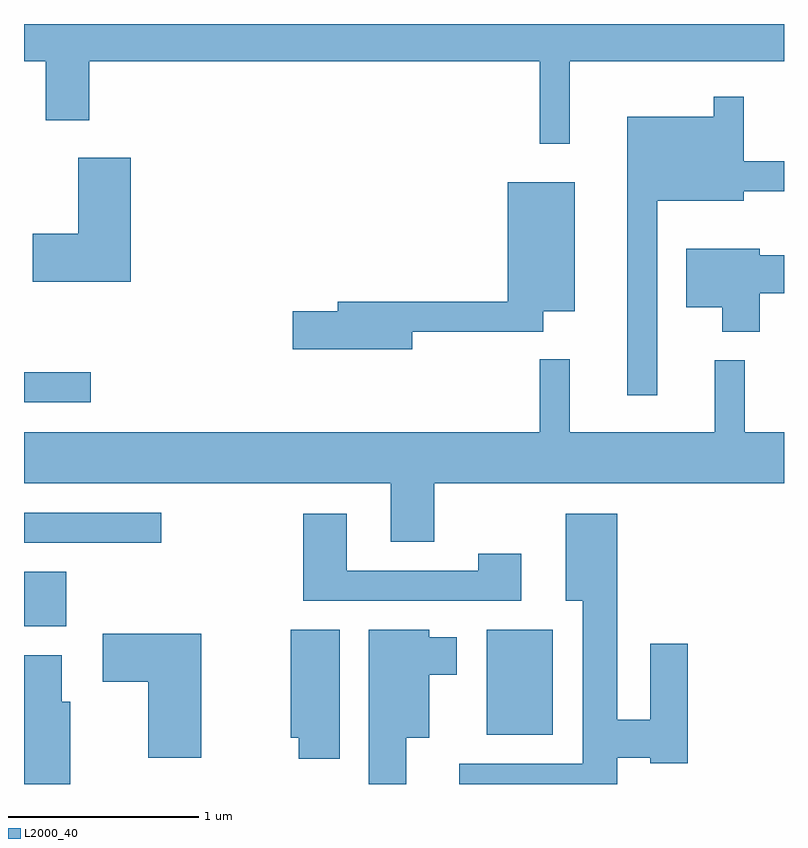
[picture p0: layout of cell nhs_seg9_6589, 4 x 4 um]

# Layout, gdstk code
import gdstk
lib = gdstk.Library(unit=1e-6, precision=1e-09)
def R(c, l, rs):  # rectangles x0, y0, x1, y1
    for r in rs: c.add(gdstk.rectangle(r[:2], r[2:], *l))
def P(c, l, *ps):  # polygons
    for p in ps: c.add(gdstk.Polygon(p, *l))
L2000_40 = (2000, 40)

nhs_seg9_6589 = lib.new_cell('nhs_seg9_6589')
R(nhs_seg9_6589, L2000_40, [(382.046,2012.691,382.394,2013.244), (379.611,2013.261,379.834,2013.549), (379.611,2013.701,380.333,2013.859), (379.611,2014.441,379.963,2014.599)])
P(nhs_seg9_6589, L2000_40, [(382.484,2016.236),(383.611,2016.236),(383.611,2016.432),(379.611,2016.432),(379.611,2016.236),(379.726,2016.236),(379.726,2015.926),(379.954,2015.926),(379.954,2016.236),(382.326,2016.236),(382.326,2015.803),(382.484,2015.803)],
  [(382.944,2015.501),(383.399,2015.501),(383.399,2015.551),(383.611,2015.551),(383.611,2015.709),(383.399,2015.709),(383.399,2016.048),(383.241,2016.048),(383.241,2015.944),(382.786,2015.944),(382.786,2014.478),(382.944,2014.478)],
  [(380.174,2015.729),(379.896,2015.729),(379.896,2015.329),(379.656,2015.329),(379.656,2015.076),(380.174,2015.076)],
  [(381.654,2014.811),(382.344,2014.811),(382.344,2014.921),(382.509,2014.921),(382.509,2015.599),(382.156,2015.599),(382.156,2014.969),(381.261,2014.969),(381.261,2014.919),(381.026,2014.919),(381.026,2014.721),(381.654,2014.721)],
  [(383.484,2015.016),(383.611,2015.016),(383.611,2015.214),(383.484,2015.214),(383.484,2015.249),(383.096,2015.249),(383.096,2014.941),(383.286,2014.941),(383.286,2014.811),(383.484,2014.811)],
  [(381.769,2014.016),(383.611,2014.016),(383.611,2014.284),(383.404,2014.284),(383.404,2014.663),(383.246,2014.663),(383.246,2014.284),(382.484,2014.284),(382.484,2014.668),(382.326,2014.668),(382.326,2014.284),(379.611,2014.284),(379.611,2014.016),(381.541,2014.016),(381.541,2013.706),(381.769,2013.706)],
  [(382.229,2013.644),(382.001,2013.644),(382.001,2013.554),(381.309,2013.554),(381.309,2013.854),(381.081,2013.854),(381.081,2013.396),(382.229,2013.396)],
  [(382.734,2012.571),(382.906,2012.571),(382.906,2012.541),(383.104,2012.541),(383.104,2013.169),(382.906,2013.169),(382.906,2012.769),(382.734,2012.769),(382.734,2013.854),(382.461,2013.854),(382.461,2013.396),(382.551,2013.396),(382.551,2012.539),(381.903,2012.539),(381.903,2012.432),(382.734,2012.432)],
  [(381.274,2013.244),(381.016,2013.244),(381.016,2012.676),(381.056,2012.676),(381.056,2012.566),(381.274,2012.566)],
  [(381.624,2012.676),(381.744,2012.676),(381.744,2013.006),(381.889,2013.006),(381.889,2013.204),(381.744,2013.204),(381.744,2013.244),(381.426,2013.244),(381.426,2012.432),(381.624,2012.432)],
  [(380.544,2013.224),(380.026,2013.224),(380.026,2012.971),(380.266,2012.971),(380.266,2012.571),(380.544,2012.571)],
  [(379.854,2012.864),(379.809,2012.864),(379.809,2013.109),(379.611,2013.109),(379.611,2012.432),(379.854,2012.432)])

lib.write_gds('nhs_seg9_6589.gds')
